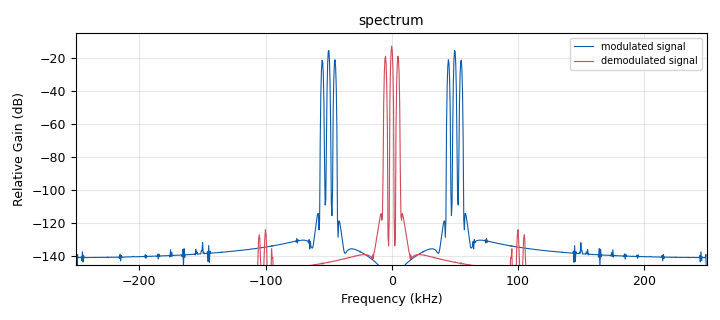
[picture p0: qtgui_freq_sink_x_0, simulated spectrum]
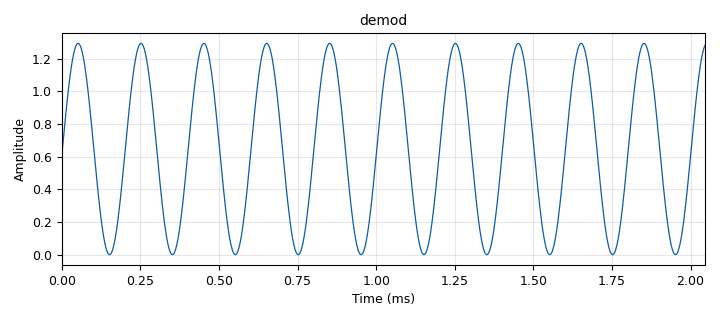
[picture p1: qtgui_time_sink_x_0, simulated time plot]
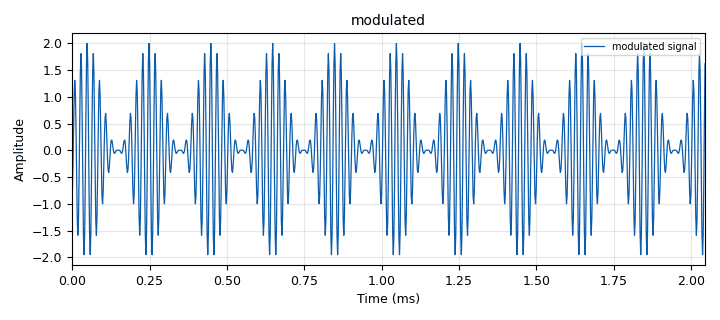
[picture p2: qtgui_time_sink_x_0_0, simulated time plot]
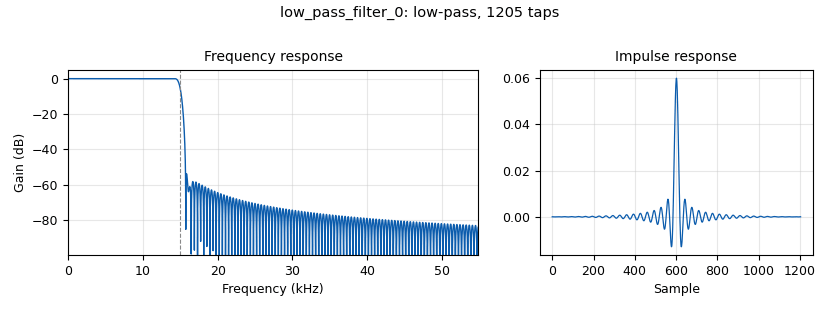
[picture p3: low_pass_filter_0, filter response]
options:
  parameters:
    author: wcc
    generate_options: qt_gui
    id: lab3_am_envelope_demod
    output_language: python
    title: lab3_am_envelope_demod
  states: {}

blocks:
- name: bband_freq
  id: variable_qtgui_range
  parameters:
    label: baseband frequency
    orient: Qt.Horizontal
    start: '0'
    step: '1'
    stop: 15e3
    value: 5e3
  states: {}
- name: carrier_freq
  id: variable_qtgui_range
  parameters:
    label: carrier frequency
    orient: Qt.Horizontal
    rangeType: int
    start: '50000'
    step: '1'
    stop: '80000'
    value: '50000'
  states: {}
- name: samp_rate
  id: variable
  parameters:
    value: '500000'
  states: {}
- name: analog_sig_source_x_0
  id: analog_sig_source_x
  parameters:
    amp: '1'
    freq: bband_freq
    offset: '0'
    phase: '0'
    samp_rate: samp_rate
    type: float
    waveform: analog.GR_COS_WAVE
  states: {}
- name: analog_sig_source_x_1
  id: analog_sig_source_x
  parameters:
    amp: '1'
    freq: carrier_freq
    offset: '0'
    phase: '0'
    samp_rate: samp_rate
    type: float
    waveform: analog.GR_COS_WAVE
  states: {}
- name: blocks_abs_xx_0
  id: blocks_abs_xx
  parameters:
    type: float
  states: {}
- name: blocks_add_const_vxx_0
  id: blocks_add_const_vxx
  parameters:
    const: '1'
    type: float
  states: {}
- name: blocks_multiply_xx_0
  id: blocks_multiply_xx
  parameters:
    type: float
  states: {}
- name: blocks_throttle_0
  id: blocks_throttle
  parameters:
    samples_per_second: samp_rate
    type: float
  states: {}
- name: low_pass_filter_0
  id: low_pass_filter
  parameters:
    cutoff_freq: 15e3
    decim: '1'
    gain: '1'
    samp_rate: samp_rate
    type: fir_filter_fff
    width: 1e3
    win: firdes.WIN_HAMMING
  states: {}
- name: qtgui_freq_sink_x_0
  id: qtgui_freq_sink_x
  parameters:
    autoscale: 'True'
    bw: samp_rate
    fc: '0'
    fftsize: '1024'
    label1: modulated signal
    label2: demodulated signal
    name: spectrum
    nconnections: '2'
    type: float
    wintype: firdes.WIN_BLACKMAN_hARRIS
  states: {}
- name: qtgui_time_sink_x_0
  id: qtgui_time_sink_x
  parameters:
    autoscale: 'True'
    name: demod
    size: '1024'
    srate: samp_rate
    type: float
  states: {}
- name: qtgui_time_sink_x_0_0
  id: qtgui_time_sink_x
  parameters:
    autoscale: 'True'
    label1: modulated signal
    name: modulated
    size: '1024'
    srate: samp_rate
    type: float
  states: {}

connections:
- [analog_sig_source_x_0, '0', blocks_add_const_vxx_0, '0']
- [analog_sig_source_x_1, '0', blocks_multiply_xx_0, '1']
- [blocks_abs_xx_0, '0', low_pass_filter_0, '0']
- [blocks_add_const_vxx_0, '0', blocks_multiply_xx_0, '0']
- [blocks_multiply_xx_0, '0', blocks_throttle_0, '0']
- [blocks_multiply_xx_0, '0', qtgui_freq_sink_x_0, '0']
- [blocks_multiply_xx_0, '0', qtgui_time_sink_x_0_0, '0']
- [blocks_throttle_0, '0', blocks_abs_xx_0, '0']
- [low_pass_filter_0, '0', qtgui_freq_sink_x_0, '1']
- [low_pass_filter_0, '0', qtgui_time_sink_x_0, '0']

metadata:
  file_format: 1
